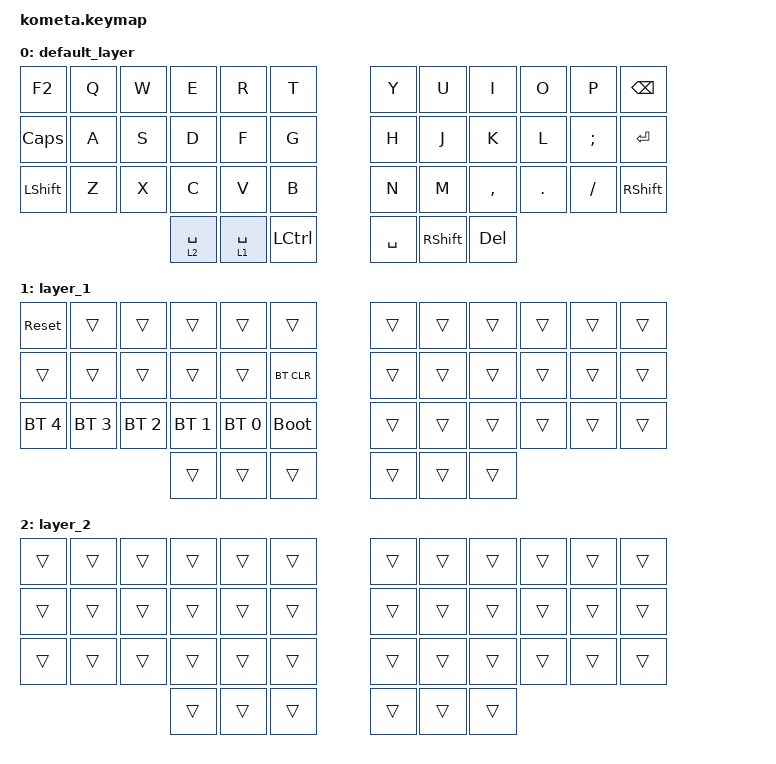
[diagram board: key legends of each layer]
#include <behaviors.dtsi>
#include <dt-bindings/zmk/bt.h>
#include <dt-bindings/zmk/keys.h>

#define DEF 0
#define LWR 1
#define RSE 2
#define ADJ 3

/ {
};

/ {
    keymap {
        compatible = "zmk,keymap";

        default_layer {
            bindings = <
&kp F2    &kp Q  &kp W  &kp E        &kp R        &kp T      &kp Y      &kp U      &kp I       &kp O    &kp P     &kp BSPC
&kp CAPS   &kp A  &kp S  &kp D        &kp F        &kp G      &kp H      &kp J      &kp K       &kp L    &kp SEMI  &kp ENTER
&kp LSHFT  &kp Z  &kp X  &kp C        &kp V        &kp B      &kp N      &kp M      &kp COMMA   &kp DOT  &kp FSLH  &kp RSHFT
                         &lt 2 SPACE  &lt 1 SPACE  &kp LCTRL  &kp SPACE  &kp RSHFT  &kp DELETE
            >;
        };

        layer_1 {
            bindings = <
&sys_reset    &trans        &trans        &trans        &trans        &trans       &trans  &trans  &trans  &trans  &trans  &trans
&trans        &trans        &trans        &trans        &trans        &bt BT_CLR   &trans  &trans  &trans  &trans  &trans  &trans
&bt BT_SEL 4  &bt BT_SEL 3  &bt BT_SEL 2  &bt BT_SEL 1  &bt BT_SEL 0  &bootloader  &trans  &trans  &trans  &trans  &trans  &trans
                                          &trans        &trans        &trans       &trans  &trans  &trans
            >;
        };

        layer_2 {
            bindings = <
&trans  &trans  &trans  &trans  &trans  &trans  &trans  &trans  &trans  &trans  &trans  &trans
&trans  &trans  &trans  &trans  &trans  &trans  &trans  &trans  &trans  &trans  &trans  &trans
&trans  &trans  &trans  &trans  &trans  &trans  &trans  &trans  &trans  &trans  &trans  &trans
                        &trans  &trans  &trans  &trans  &trans  &trans
            >;
        };
    };
};
